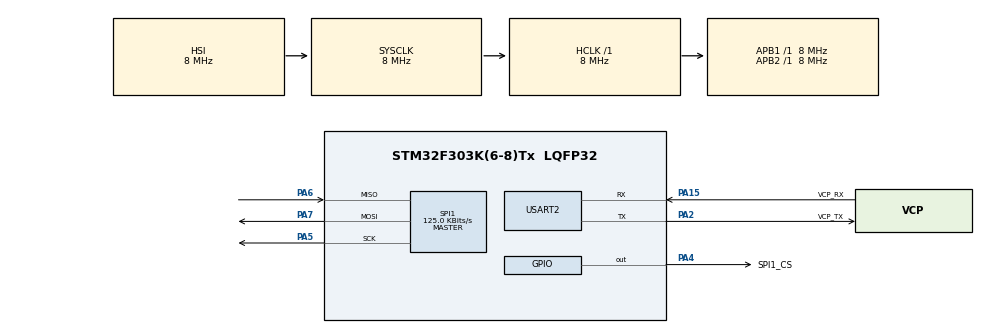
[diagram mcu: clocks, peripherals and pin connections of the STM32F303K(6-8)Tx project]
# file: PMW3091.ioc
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Mcu.Family=STM32F3
Mcu.Name=STM32F303K(6-8)Tx
Mcu.Package=LQFP32
NVIC.PriorityGroup=NVIC_PRIORITYGROUP_4
PA13.GPIO_Label=SWDIO
PA13.Mode=Serial_Wire
PA13.Signal=SYS_JTMS-SWDIO
PA14.GPIO_Label=SWCLK
PA14.Mode=Serial_Wire
PA14.Signal=SYS_JTCK-SWCLK
PA15.GPIO_Label=VCP_RX
PA15.Mode=Asynchronous
PA15.Signal=USART2_RX
PA2.GPIO_Label=VCP_TX
PA2.Mode=Asynchronous
PA2.Signal=USART2_TX
PA4.GPIO_Label=SPI1_CS
PA4.Signal=GPIO_Output
PA5.Mode=Full_Duplex_Master
PA5.Signal=SPI1_SCK
PA6.Mode=Full_Duplex_Master
PA6.Signal=SPI1_MISO
PA7.Mode=Full_Duplex_Master
PA7.Signal=SPI1_MOSI
PF0\ /\ OSC_IN.GPIO_Label=MCO
PF0\ /\ OSC_IN.Mode=HSE-External-Clock-Source
PF0\ /\ OSC_IN.Signal=RCC_OSC_IN
ProjectManager.HeapSize=0x200
ProjectManager.StackSize=0x400
ProjectManager.TargetToolchain=STM32CubeIDE
RCC.AHBFreq_Value=8000000
RCC.APB1Freq_Value=8000000
RCC.APB2Freq_Value=8000000
RCC.CortexFreq_Value=8000000
RCC.HSE_VALUE=8000000
RCC.HSI_VALUE=8000000
RCC.SYSCLKFreq_VALUE=8000000
SPI1.BaudRatePrescaler=SPI_BAUDRATEPRESCALER_64
SPI1.CalculateBaudRate=125.0 KBits/s
SPI1.DataSize=SPI_DATASIZE_8BIT
SPI1.Direction=SPI_DIRECTION_2LINES
SPI1.Mode=SPI_MODE_MASTER
SPI1.VirtualType=VM_MASTER
USART2.VirtualMode-Asynchronous=VM_ASYNC
board=NUCLEO-F303K8

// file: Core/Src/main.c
/* USER CODE BEGIN Header */
/**
  ******************************************************************************
  * @file           : main.c
  * @brief          : Main program body
  ******************************************************************************
  * @attention
  *
  * <h2><center>&copy; Copyright (c) 2022 STMicroelectronics.
  * All rights reserved.</center></h2>
  *
  * This software component is licensed by ST under BSD 3-Clause license,
  * the "License"; You may not use this file except in compliance with the
  * License. You may obtain a copy of the License at:
  *                        opensource.org/licenses/BSD-3-Clause
  *
  ******************************************************************************
  */
/* USER CODE END Header */
#include "main.h"

/* USER CODE BEGIN Includes */
#include "stdio.h"

#include "PMW3901.h"

/* USER CODE END Includes */

SPI_HandleTypeDef hspi1;

UART_HandleTypeDef huart2;

/* USER CODE BEGIN PV */
char buffer[1024];
uint16_t Tx_len;
PMW3901_Status_t status;
int16_t x,y;

PMW3901_Descriptor_t PMW3901_Descriptor = {
		.hspi = &hspi1,
		.CS_Port = SPI1_CS_GPIO_Port,
		.CS_Pin = SPI1_CS_Pin
};
/* USER CODE END PV */

void SystemClock_Config(void);
static void MX_GPIO_Init(void);
static void MX_USART2_UART_Init(void);
static void MX_SPI1_Init(void);

int main(void)
{

  /* MCU Configuration--------------------------------------------------------*/

  /* Reset of all peripherals, Initializes the Flash interface and the Systick. */
  HAL_Init();

  /* Configure the system clock */
  SystemClock_Config();

  /* Initialize all configured peripherals */
  MX_GPIO_Init();
  MX_USART2_UART_Init();
  MX_SPI1_Init();
  /* USER CODE BEGIN 2 */

  Tx_len = sprintf (buffer, "init\r\n");
  HAL_UART_Transmit(&huart2,(uint8_t*) buffer, Tx_len, 100);

  status = PMW3901_Init(&PMW3901_Descriptor);
  Tx_len = sprintf (buffer, "init status = %d\r\n",status);
  HAL_UART_Transmit(&huart2, (uint8_t*)buffer, Tx_len, 100);

  /* USER CODE END 2 */

  /* Infinite loop */
  while (1)
  {

    /* USER CODE BEGIN 3 */
	  status = PMW3901_Read_Variation(&x, &y);
	  Tx_len = sprintf (buffer, "var_x = %d\tvar_y = %d\tStatus = %d\r\n",x,y,status);
	  HAL_UART_Transmit(&huart2, (uint8_t*)buffer, Tx_len, 100);

	  HAL_Delay(100);
  }
  /* USER CODE END 3 */
}

void SystemClock_Config(void)
{
  RCC_OscInitTypeDef RCC_OscInitStruct = {0};
  RCC_ClkInitTypeDef RCC_ClkInitStruct = {0};

  /** Initializes the RCC Oscillators according to the specified parameters
  * in the RCC_OscInitTypeDef structure.
  */
  RCC_OscInitStruct.OscillatorType = RCC_OSCILLATORTYPE_HSI;
  RCC_OscInitStruct.HSIState = RCC_HSI_ON;
  RCC_OscInitStruct.HSICalibrationValue = RCC_HSICALIBRATION_DEFAULT;
  RCC_OscInitStruct.PLL.PLLState = RCC_PLL_NONE;
  if (HAL_RCC_OscConfig(&RCC_OscInitStruct) != HAL_OK)
  {
    Error_Handler();
  }
  /** Initializes the CPU, AHB and APB buses clocks
  */
  RCC_ClkInitStruct.ClockType = RCC_CLOCKTYPE_HCLK|RCC_CLOCKTYPE_SYSCLK
                              |RCC_CLOCKTYPE_PCLK1|RCC_CLOCKTYPE_PCLK2;
  RCC_ClkInitStruct.SYSCLKSource = RCC_SYSCLKSOURCE_HSI;
  RCC_ClkInitStruct.AHBCLKDivider = RCC_SYSCLK_DIV1;
  RCC_ClkInitStruct.APB1CLKDivider = RCC_HCLK_DIV1;
  RCC_ClkInitStruct.APB2CLKDivider = RCC_HCLK_DIV1;

  if (HAL_RCC_ClockConfig(&RCC_ClkInitStruct, FLASH_LATENCY_0) != HAL_OK)
  {
    Error_Handler();
  }
}

static void MX_SPI1_Init(void)
{

  /* SPI1 parameter configuration*/
  hspi1.Instance = SPI1;
  hspi1.Init.Mode = SPI_MODE_MASTER;
  hspi1.Init.Direction = SPI_DIRECTION_2LINES;
  hspi1.Init.DataSize = SPI_DATASIZE_8BIT;
  hspi1.Init.CLKPolarity = SPI_POLARITY_LOW;
  hspi1.Init.CLKPhase = SPI_PHASE_1EDGE;
  hspi1.Init.NSS = SPI_NSS_SOFT;
  hspi1.Init.BaudRatePrescaler = SPI_BAUDRATEPRESCALER_64;
  hspi1.Init.FirstBit = SPI_FIRSTBIT_MSB;
  hspi1.Init.TIMode = SPI_TIMODE_DISABLE;
  hspi1.Init.CRCCalculation = SPI_CRCCALCULATION_DISABLE;
  hspi1.Init.CRCPolynomial = 7;
  hspi1.Init.CRCLength = SPI_CRC_LENGTH_DATASIZE;
  hspi1.Init.NSSPMode = SPI_NSS_PULSE_ENABLE;
  if (HAL_SPI_Init(&hspi1) != HAL_OK)
  {
    Error_Handler();
  }

}

static void MX_USART2_UART_Init(void)
{

  huart2.Instance = USART2;
  huart2.Init.BaudRate = 38400;
  huart2.Init.WordLength = UART_WORDLENGTH_8B;
  huart2.Init.StopBits = UART_STOPBITS_1;
  huart2.Init.Parity = UART_PARITY_NONE;
  huart2.Init.Mode = UART_MODE_TX_RX;
  huart2.Init.HwFlowCtl = UART_HWCONTROL_NONE;
  huart2.Init.OverSampling = UART_OVERSAMPLING_16;
  huart2.Init.OneBitSampling = UART_ONE_BIT_SAMPLE_DISABLE;
  huart2.AdvancedInit.AdvFeatureInit = UART_ADVFEATURE_NO_INIT;
  if (HAL_UART_Init(&huart2) != HAL_OK)
  {
    Error_Handler();
  }

}

static void MX_GPIO_Init(void)
{
  GPIO_InitTypeDef GPIO_InitStruct = {0};

  /* GPIO Ports Clock Enable */
  __HAL_RCC_GPIOF_CLK_ENABLE();
  __HAL_RCC_GPIOA_CLK_ENABLE();

  /*Configure GPIO pin Output Level */
  HAL_GPIO_WritePin(SPI1_CS_GPIO_Port, SPI1_CS_Pin, GPIO_PIN_RESET);

  /*Configure GPIO pin : SPI1_CS_Pin */
  GPIO_InitStruct.Pin = SPI1_CS_Pin;
  GPIO_InitStruct.Mode = GPIO_MODE_OUTPUT_PP;
  GPIO_InitStruct.Pull = GPIO_NOPULL;
  GPIO_InitStruct.Speed = GPIO_SPEED_FREQ_LOW;
  HAL_GPIO_Init(SPI1_CS_GPIO_Port, &GPIO_InitStruct);

}

void Error_Handler(void)
{
  __disable_irq();
  while (1)
  {
  }
}

/************************ (C) COPYRIGHT STMicroelectronics *****END OF FILE****/
